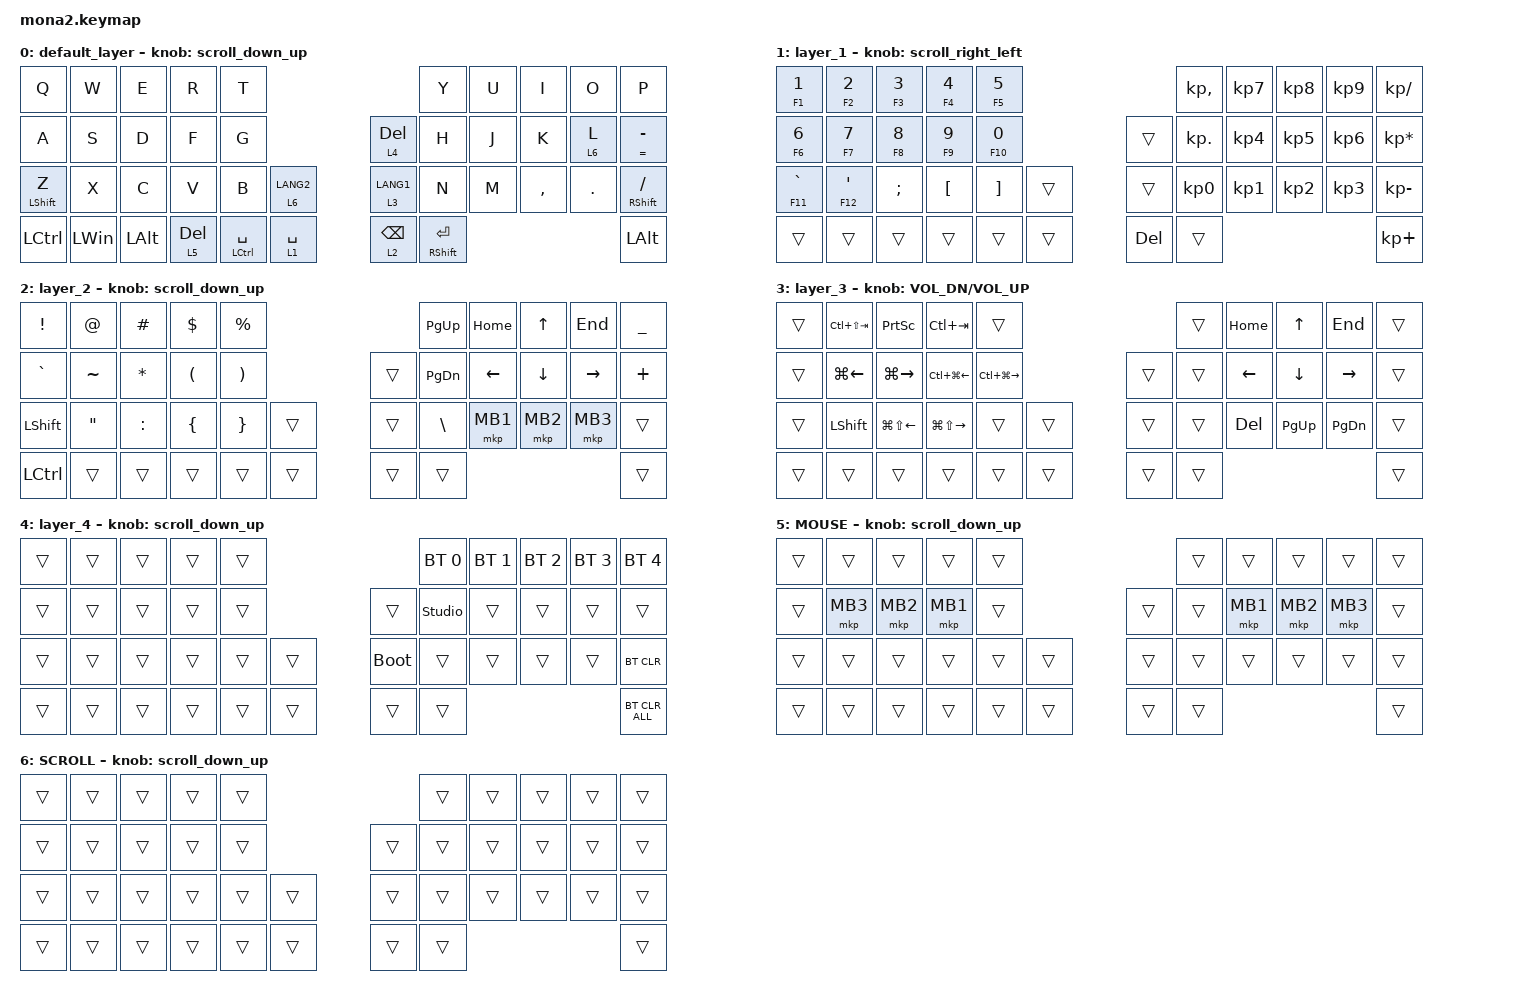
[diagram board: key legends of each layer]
#include <input/processors.dtsi>
#include <dt-bindings/zmk/input_transform.h>
#include <zephyr/dt-bindings/input/input-event-codes.h>
#include <behaviors.dtsi>
#include <dt-bindings/zmk/bt.h>
#include <dt-bindings/zmk/keys.h>
#include <dt-bindings/zmk/pointing.h>
#include <input/processors/runtime-input-processor.dtsi>
#include <behaviors/runtime-sensor-rotate.dtsi>
#include <behaviors/battery_history_request.dtsi>

#define ZMK_POINTING_DEFAULT_SCRL_VAL 100
#define MOUSE 5
#define SCROLL 6

&mt {
    flavor = "balanced";
    quick-tap-ms = <0>;
};

&lt {
    quick-tap-ms = <300>;
    flavor = "balanced";
};

/ {
    combos {
        compatible = "zmk,combos";

        layer4_ESC {
            bindings = <&lt 4 ESC>;
            key-positions = <0 1>;
        };

        tab {
            bindings = <&kp TAB>;
            key-positions = <11 12>;
        };

        EscapeCombo {
            bindings = <&kp ESCAPE>;
            key-positions = <38 39>;
        };

        HiraganaCombo {
            bindings = <&kp F15>;
            key-positions = <35 0>;
        };
    };

    macros {
        to_layer_0: to_layer_0 {
            compatible = "zmk,behavior-macro-one-param";
            #binding-cells = <1>;
            bindings = <&to 0 &macro_param_1to1 &kp MACRO_PLACEHOLDER>;
            label = "TO_LAYER_0";
        };
    };

    behaviors {
        lt_to_layer_0: lt_to_layer_0 {
            compatible = "zmk,behavior-hold-tap";
            label = "LAYER_TAP_TO_0";
            bindings = <&mo>, <&to_layer_0>;

            #binding-cells = <2>;
            tapping-term-ms = <200>;
        };

        scroll_up_down: mouse_wheel_up_down {
            compatible = "zmk,behavior-sensor-rotate";
            #sensor-binding-cells = <0>;
            bindings = <&msc SCRL_DOWN>, <&msc SCRL_UP>;

            tap-ms = <20>;
        };

        scroll_right_left: mouse_wheel_right_left {
            compatible = "zmk,behavior-sensor-rotate";
            #sensor-binding-cells = <0>;
            bindings = <&msc SCRL_LEFT>, <&msc SCRL_RIGHT>;

            tap-ms = <20>;
        };

        scroll_down_up: mouse_wheel_down_up {
            compatible = "zmk,behavior-sensor-rotate";
            #sensor-binding-cells = <0>;
            bindings = <&msc SCRL_UP>, <&msc SCRL_DOWN>;

            tap-ms = <20>;
        };

        mt2: mod_tap2 {
            compatible = "zmk,behavior-hold-tap";
            bindings = <&kp>, <&kp>;

            #binding-cells = <2>;
            tapping-term-ms = <200>;
            quick-tap-ms = <200>;
            require-prior-idle-ms = <125>;
        };
    };

    keymap {
        compatible = "zmk,keymap";

        default_layer {
            bindings = <
&kp Q             &kp W         &kp E         &kp R         &kp T                                                               &kp Y                   &kp U  &kp I      &kp O    &kp P
&kp A             &kp S         &kp D         &kp F         &kp G                                              &lt 4 DELETE     &kp H                   &kp J  &kp K      &lt 6 L  &mt2 EQUAL MINUS
&mt LEFT_SHIFT Z  &kp X         &kp C         &kp V         &kp B                    &lt 6 LANG2               &lt 3 LANG1      &kp N                   &kp M  &kp COMMA  &kp DOT  &mt2 RIGHT_SHIFT SLASH
&kp LCTRL         &kp LEFT_WIN  &kp LEFT_ALT  &lt 5 DELETE  &mt2 LEFT_CONTROL SPACE  &lt_to_layer_0 1 SPACE    &lt 2 BACKSPACE  &mt2 RIGHT_SHIFT ENTER                             &kp LEFT_ALT
            >;

            sensor-bindings = <&scroll_down_up>;
        };

        layer_1 {
            bindings = <
&mt2 F1 NUMBER_1  &mt2 F2 NUMBER_2  &mt2 F3 NUMBER_3  &mt2 F4 NUMBER_4  &mt2 F5 NUMBER_5                         &kp KP_COMMA     &kp KP_NUMBER_7  &kp KP_NUMBER_8  &kp KP_NUMBER_9  &kp KP_SLASH
&mt2 F6 NUMBER_6  &mt2 F7 NUMBER_7  &mt2 F8 N8        &mt2 F9 NUMBER_9  &mt2 F10 NUMBER_0            &trans      &kp KP_DOT       &kp KP_NUMBER_4  &kp KP_NUMBER_5  &kp KP_NUMBER_6  &kp KP_MULTIPLY
&mt2 F11 GRAVE    &mt2 F12 SQT      &kp SEMICOLON     &kp LEFT_BRACKET  &kp RIGHT_BRACKET  &trans    &trans      &kp KP_NUMBER_0  &kp KP_NUMBER_1  &kp KP_NUMBER_2  &kp KP_NUMBER_3  &kp KP_MINUS
&trans            &trans            &trans            &trans            &trans             &trans    &kp DELETE  &trans                                                              &kp KP_PLUS
            >;

            sensor-bindings = <&scroll_right_left>;
        };

        layer_2 {
            bindings = <
&kp EXCLAMATION  &kp AT_SIGN        &kp POUND     &kp DOLLAR            &kp PERCENT                              &kp PAGE_UP    &kp HOME        &kp UP_ARROW    &kp END          &kp UNDERSCORE
&kp GRAVE        &kp TILDE          &kp ASTERISK  &kp LEFT_PARENTHESIS  &kp RIGHT_PARENTHESIS            &trans  &kp PAGE_DOWN  &kp LEFT_ARROW  &kp DOWN_ARROW  &kp RIGHT_ARROW  &kp PLUS
&kp LEFT_SHIFT   &kp DOUBLE_QUOTES  &kp COLON     &kp LEFT_BRACE        &kp RIGHT_BRACE        &trans    &trans  &kp BACKSLASH  &mkp MB1        &mkp MB2        &mkp MB3         &trans
&kp LCTRL        &trans             &trans        &trans                &trans                 &trans    &trans  &trans                                                          &trans
            >;

            sensor-bindings = <&scroll_down_up>;
        };

        layer_3 {
            bindings = <
&trans  &kp LC(LS(TAB))     &kp PRINTSCREEN         &kp LC(TAB)              &trans                                     &trans  &kp HOME        &kp UP_ARROW    &kp END          &trans
&trans  &kp LG(LEFT_ARROW)  &kp LG(RIGHT_ARROW)     &kp LC(LG(LEFT_ARROW))   &kp LC(LG(RIGHT_ARROW))            &trans  &trans  &kp LEFT_ARROW  &kp DOWN_ARROW  &kp RIGHT_ARROW  &trans
&trans  &kp LEFT_SHIFT      &kp LG(LS(LEFT_ARROW))  &kp LG(LS(RIGHT_ARROW))  &trans                   &trans    &trans  &trans  &kp DELETE      &kp PAGE_UP     &kp PAGE_DOWN    &trans
&trans  &trans              &trans                  &trans                   &trans                   &trans    &trans  &trans                                                   &trans
            >;

            sensor-bindings = <&inc_dec_kp C_VOL_DN C_VOL_UP>;
        };

        layer_4 {
            bindings = <
&trans  &trans  &trans  &trans  &trans                         &bt BT_SEL 0    &bt BT_SEL 1  &bt BT_SEL 2  &bt BT_SEL 3  &bt BT_SEL 4
&trans  &trans  &trans  &trans  &trans            &trans       &studio_unlock  &trans        &trans        &trans        &trans
&trans  &trans  &trans  &trans  &trans  &trans    &bootloader  &trans          &trans        &trans        &trans        &bt BT_CLR
&trans  &trans  &trans  &trans  &trans  &trans    &trans       &trans                                                    &bt BT_CLR_ALL
            >;

            sensor-bindings = <&scroll_down_up>;
        };

        MOUSE {
            bindings = <
&trans  &trans    &trans    &trans    &trans                    &trans  &trans    &trans    &trans    &trans
&trans  &mkp MB3  &mkp MB2  &mkp MB1  &trans            &trans  &trans  &mkp MB1  &mkp MB2  &mkp MB3  &trans
&trans  &trans    &trans    &trans    &trans  &trans    &trans  &trans  &trans    &trans    &trans    &trans
&trans  &trans    &trans    &trans    &trans  &trans    &trans  &trans                                &trans
            >;

            sensor-bindings = <&scroll_down_up>;
        };

        SCROLL {
            bindings = <
&trans  &trans  &trans  &trans  &trans                    &trans  &trans  &trans  &trans  &trans
&trans  &trans  &trans  &trans  &trans            &trans  &trans  &trans  &trans  &trans  &trans
&trans  &trans  &trans  &trans  &trans  &trans    &trans  &trans  &trans  &trans  &trans  &trans
&trans  &trans  &trans  &trans  &trans  &trans    &trans  &trans                          &trans
            >;

            sensor-bindings = <&scroll_down_up>;
        };
    };
};
